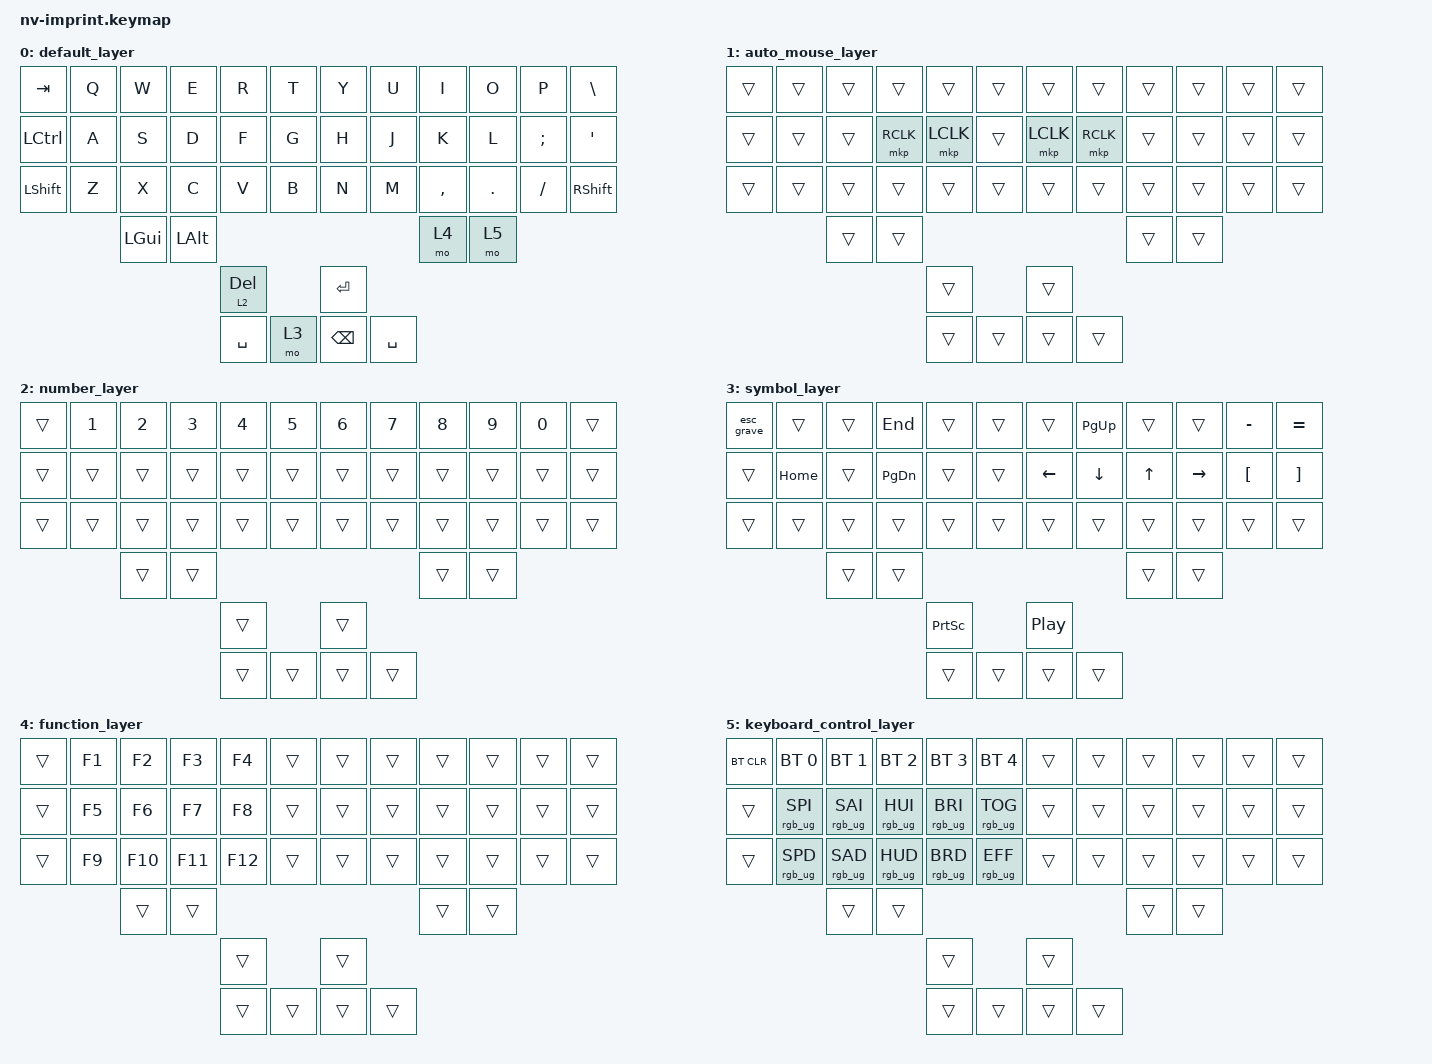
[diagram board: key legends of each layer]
#include <input/processors.dtsi>
#include <dt-bindings/zmk/input_transform.h>
#include <behaviors.dtsi>
#include <dt-bindings/zmk/bt.h>
#include <dt-bindings/zmk/keys.h>
#include <dt-bindings/zmk/pointing.h>
#include <dt-bindings/zmk/rgb.h>

/ {
    chosen { zmk,matrix-transform = &nv_transform; };

    behaviors {
        esc_grave: esc_grave {
            compatible = "zmk,behavior-tap-dance";
            label = "ESC_GRAVE";
            #binding-cells = <0>;
            bindings = <&kp ESC>, <&kp GRAVE>;
        };
    };

    keymap {
        compatible = "zmk,keymap";

        default_layer {
            bindings = <
&kp TAB    &kp Q  &kp W     &kp E     &kp R      &kp T      &kp Y          &kp U      &kp I      &kp O    &kp P     &kp BSLH
&kp LCTRL  &kp A  &kp S     &kp D     &kp F      &kp G      &kp H          &kp J      &kp K      &kp L    &kp SEMI  &kp SQT
&kp LSHFT  &kp Z  &kp X     &kp C     &kp V      &kp B      &kp N          &kp M      &kp COMMA  &kp DOT  &kp FSLH  &kp RSHFT
                  &kp LGUI  &kp LALT                                                  &mo 4      &mo 5
                                      &lt 2 DEL             &kp ENTER
                                      &kp SPACE  &mo 3      &kp BACKSPACE  &kp SPACE
            >;
        };

        auto_mouse_layer {
            bindings = <
&trans  &trans  &trans  &trans     &trans     &trans      &trans     &trans     &trans  &trans  &trans  &trans
&trans  &trans  &trans  &mkp RCLK  &mkp LCLK  &trans      &mkp LCLK  &mkp RCLK  &trans  &trans  &trans  &trans
&trans  &trans  &trans  &trans     &trans     &trans      &trans     &trans     &trans  &trans  &trans  &trans
                &trans  &trans                                                  &trans  &trans
                                   &trans                 &trans
                                   &trans     &trans      &trans     &trans
            >;
        };

        number_layer {
            bindings = <
&trans  &kp N1  &kp N2  &kp N3  &kp N4  &kp N5      &kp N6  &kp N7  &kp N8  &kp N9  &kp N0  &trans
&trans  &trans  &trans  &trans  &trans  &trans      &trans  &trans  &trans  &trans  &trans  &trans
&trans  &trans  &trans  &trans  &trans  &trans      &trans  &trans  &trans  &trans  &trans  &trans
                &trans  &trans                                      &trans  &trans
                                &trans              &trans
                                &trans  &trans      &trans  &trans
            >;
        };

        symbol_layer {
            bindings = <
&esc_grave  &trans    &trans  &kp END    &trans     &trans      &trans    &kp PG_UP  &trans  &trans     &kp MINUS  &kp EQUAL
&trans      &kp HOME  &trans  &kp PG_DN  &trans     &trans      &kp LEFT  &kp DOWN   &kp UP  &kp RIGHT  &kp LBKT   &kp RBKT
&trans      &trans    &trans  &trans     &trans     &trans      &trans    &trans     &trans  &trans     &trans     &trans
                      &trans  &trans                                                 &trans  &trans
                                         &kp PSCRN              &kp C_PP
                                         &trans     &trans      &trans    &trans
            >;
        };

        function_layer {
            bindings = <
&trans  &kp F1  &kp F2   &kp F3   &kp F4   &trans      &trans  &trans  &trans  &trans  &trans  &trans
&trans  &kp F5  &kp F6   &kp F7   &kp F8   &trans      &trans  &trans  &trans  &trans  &trans  &trans
&trans  &kp F9  &kp F10  &kp F11  &kp F12  &trans      &trans  &trans  &trans  &trans  &trans  &trans
                &trans   &trans                                        &trans  &trans
                                  &trans               &trans
                                  &trans   &trans      &trans  &trans
            >;
        };

        keyboard_control_layer {
            bindings = <
&bt BT_CLR  &bt BT_SEL 0     &bt BT_SEL 1     &bt BT_SEL 2     &bt BT_SEL 3     &bt BT_SEL 4         &trans  &trans  &trans  &trans  &trans  &trans
&trans      &rgb_ug RGB_SPI  &rgb_ug RGB_SAI  &rgb_ug RGB_HUI  &rgb_ug RGB_BRI  &rgb_ug RGB_TOG      &trans  &trans  &trans  &trans  &trans  &trans
&trans      &rgb_ug RGB_SPD  &rgb_ug RGB_SAD  &rgb_ug RGB_HUD  &rgb_ug RGB_BRD  &rgb_ug RGB_EFF      &trans  &trans  &trans  &trans  &trans  &trans
                             &trans           &trans                                                                 &trans  &trans
                                                               &trans                                &trans
                                                               &trans           &trans               &trans  &trans
            >;
        };
    };
};

// right hand trackball configuration
&trackball_peripheral_listener {
    input-processors =
        <&zip_temp_layer 1 300>;

    scroller {
        layers = <3>;
        input-processors =
            // multiply sensitivity by 1, divide by 3 (make it slower for scrolling),,,
            <&zip_xy_scaler 1 3>,
            // make this trackball output scrolling events by default instead of cursor movement,,,
            <&zip_xy_to_scroll_mapper>,
            // invert vertical scrolling so that the view moves in the same direction as the top of the trackball.,,,
            <&zip_scroll_transform INPUT_TRANSFORM_Y_INVERT>;
    };
};

//left hand trackball configuration
&trackball_central_listener {
    input-processors =
        // multiply sensitivity by 1, divide by 3 (make it slower for scrolling),,,
        <&zip_xy_scaler 1 3>,
        // make this trackball output scrolling events by default instead of cursor movement,,,
        <&zip_xy_to_scroll_mapper>,
        // invert vertical scrolling so that the view moves in the same direction as the top of the trackball.,,,
        <&zip_scroll_transform INPUT_TRANSFORM_Y_INVERT>;
};
